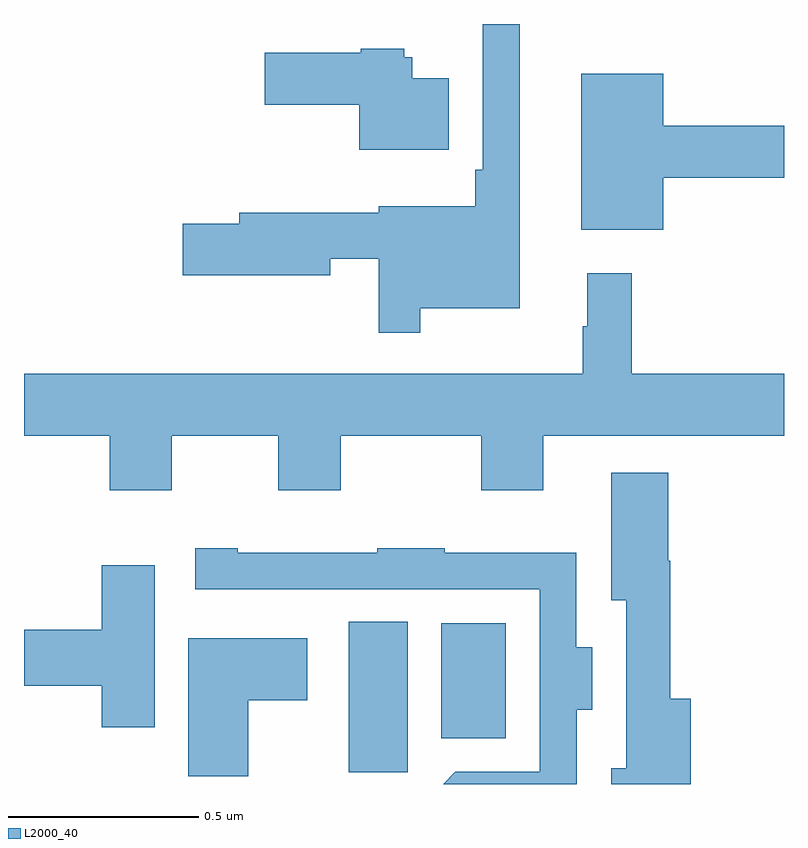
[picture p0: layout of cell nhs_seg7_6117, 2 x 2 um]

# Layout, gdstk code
import gdstk
lib = gdstk.Library(unit=1e-6, precision=1e-09)
def R(c, l, rs):  # rectangles x0, y0, x1, y1
    for r in rs: c.add(gdstk.rectangle(r[:2], r[2:], *l))
def P(c, l, *ps):  # polygons
    for p in ps: c.add(gdstk.Polygon(p, *l))
L2000_40 = (2000, 40)

nhs_seg7_6117 = lib.new_cell('nhs_seg7_6117')
R(nhs_seg7_6117, L2000_40, [(194.855,1033.031,195.01,1033.427), (195.098,1033.121,195.268,1033.423)])
P(nhs_seg7_6117, L2000_40, [(195.043,1034.252),(195.304,1034.252),(195.304,1035),(195.207,1035),(195.207,1034.617),(195.187,1034.617),(195.187,1034.521),(194.933,1034.521),(194.933,1034.503),(194.567,1034.503),(194.567,1034.474),(194.418,1034.474),(194.418,1034.339),(194.806,1034.339),(194.806,1034.382),(194.934,1034.382),(194.934,1034.187),(195.043,1034.187)],
  [(195.118,1034.857),(195.022,1034.857),(195.022,1034.913),(195,1034.913),(195,1034.935),(194.886,1034.935),(194.886,1034.925),(194.634,1034.925),(194.634,1034.788),(194.882,1034.788),(194.882,1034.669),(195.118,1034.669)],
  [(195.682,1034.596),(196,1034.596),(196,1034.732),(195.682,1034.732),(195.682,1034.869),(195.467,1034.869),(195.467,1034.459),(195.682,1034.459)],
  [(194.389,1033.916),(194.669,1033.916),(194.669,1033.773),(194.833,1033.773),(194.833,1033.916),(195.203,1033.916),(195.203,1033.773),(195.367,1033.773),(195.367,1033.916),(196,1033.916),(196,1034.08),(195.599,1034.08),(195.599,1034.344),(195.482,1034.344),(195.482,1034.204),(195.471,1034.204),(195.471,1034.08),(194,1034.08),(194,1033.916),(194.225,1033.916),(194.225,1033.773),(194.389,1033.773)],
  [(195.755,1033.225),(195.701,1033.225),(195.701,1033.588),(195.695,1033.588),(195.695,1033.819),(195.545,1033.819),(195.545,1033.484),(195.585,1033.484),(195.585,1033.041),(195.545,1033.041),(195.545,1033),(195.755,1033)],
  [(195.454,1033.196),(195.496,1033.196),(195.496,1033.36),(195.453,1033.36),(195.453,1033.609),(195.107,1033.609),(195.107,1033.621),(194.929,1033.621),(194.929,1033.609),(194.563,1033.609),(194.563,1033.621),(194.451,1033.621),(194.451,1033.512),(195.357,1033.512),(195.357,1033.032),(195.135,1033.032),(195.103,1033),(195.454,1033)],
  [(194.344,1033.576),(194.204,1033.576),(194.204,1033.406),(194,1033.406),(194,1033.259),(194.204,1033.259),(194.204,1033.149),(194.344,1033.149)],
  [(194.59,1033.22),(194.746,1033.22),(194.746,1033.384),(194.432,1033.384),(194.432,1033.021),(194.59,1033.021)])

lib.write_gds('nhs_seg7_6117.gds')
